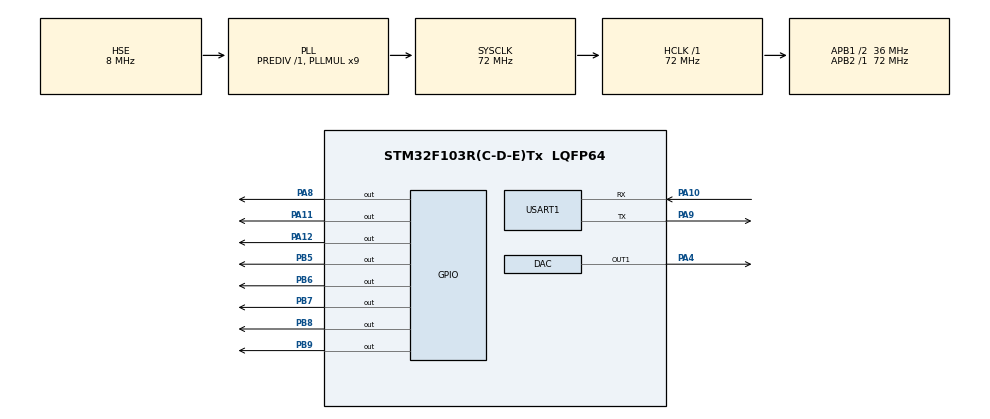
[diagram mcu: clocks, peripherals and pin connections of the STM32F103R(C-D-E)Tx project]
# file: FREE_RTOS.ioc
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ADC1.Channel-0\#ChannelRegularConversion=ADC_CHANNEL_TEMPSENSOR
ADC1.ContinuousConvMode=ENABLE
ADC1.EnableInjectedConversion=DISABLE
ADC1.NbrOfConversionFlag=1
ADC1.Rank-0\#ChannelRegularConversion=1
ADC1.SamplingTime-0\#ChannelRegularConversion=ADC_SAMPLETIME_239CYCLES_5
ADC1.master=1
DAC.DAC_Trigger=DAC_TRIGGER_T2_TRGO
Dma.DAC_CH1.0.Direction=DMA_MEMORY_TO_PERIPH
Dma.DAC_CH1.0.Instance=DMA2_Channel3
Dma.DAC_CH1.0.MemDataAlignment=DMA_MDATAALIGN_WORD
Dma.DAC_CH1.0.MemInc=DMA_MINC_ENABLE
Dma.DAC_CH1.0.Mode=DMA_CIRCULAR
Dma.DAC_CH1.0.PeriphDataAlignment=DMA_PDATAALIGN_WORD
Dma.DAC_CH1.0.PeriphInc=DMA_PINC_DISABLE
Dma.DAC_CH1.0.Priority=DMA_PRIORITY_LOW
Dma.Request0=DAC_CH1
FREERTOS.Tasks01=defaultTask,-1,128,StartDefaultTask,Default,NULL,Dynamic,NULL,NULL;myTask02,0,128,StartTask02,Default,NULL,Dynamic,NULL,NULL;myTask03,1,128,StartTask03,Default,NULL,Dynamic,NULL,NULL;myTask04,2,128,StartTask04,Default,NULL,Dynamic,NULL,NULL
Mcu.Family=STM32F1
Mcu.Name=STM32F103R(C-D-E)Tx
Mcu.Package=LQFP64
NVIC.DMA2_Channel3_IRQn=true\:0\:0\:false\:false\:true\:true\:false\:true
NVIC.PriorityGroup=NVIC_PRIORITYGROUP_4
NVIC.USART1_IRQn=true\:0\:0\:false\:false\:true\:true\:true\:true
PA10.Mode=Asynchronous
PA10.Signal=USART1_RX
PA11.Signal=GPIO_Output
PA12.Signal=GPIO_Output
PA13.Mode=JTAG_5_pins
PA13.Signal=SYS_JTMS-SWDIO
PA14.Mode=JTAG_5_pins
PA14.Signal=SYS_JTCK-SWCLK
PA15.Mode=JTAG_5_pins
PA15.Signal=SYS_JTDI
PA4.Signal=COMP_DAC1_group
PA8.Signal=GPIO_Output
PA9.Mode=Asynchronous
PA9.Signal=USART1_TX
PB3.Mode=JTAG_5_pins
PB3.Signal=SYS_JTDO-TRACESWO
PB4.Mode=JTAG_5_pins
PB4.Signal=SYS_NJTRST
PB5.Signal=GPIO_Output
PB6.Signal=GPIO_Output
PB7.Signal=GPIO_Output
PB8.Signal=GPIO_Output
PB9.Signal=GPIO_Output
PD0-OSC_IN.Mode=HSE-External-Oscillator
PD0-OSC_IN.Signal=RCC_OSC_IN
PD1-OSC_OUT.Mode=HSE-External-Oscillator
PD1-OSC_OUT.Signal=RCC_OSC_OUT
ProjectManager.HeapSize=0x200
ProjectManager.StackSize=0x400
ProjectManager.TargetToolchain=SW4STM32
RCC.ADCPresc=RCC_ADCPCLK2_DIV6
RCC.AHBFreq_Value=72000000
RCC.APB1CLKDivider=RCC_HCLK_DIV2
RCC.APB1Freq_Value=36000000
RCC.APB1TimFreq_Value=72000000
RCC.APB2Freq_Value=72000000
RCC.APB2TimFreq_Value=72000000
RCC.HCLKFreq_Value=72000000
RCC.PLLMUL=RCC_PLL_MUL9
RCC.PLLSourceVirtual=RCC_PLLSOURCE_HSE
RCC.SYSCLKFreq_VALUE=72000000
RCC.SYSCLKSource=RCC_SYSCLKSOURCE_PLLCLK
RCC.USBFreq_Value=72000000
SH.COMP_DAC1_group.0=DAC_OUT1,DAC_OUT1
TIM2.AutoReloadPreload=TIM_AUTORELOAD_PRELOAD_ENABLE
TIM2.Period=4
TIM2.Prescaler=71
TIM2.TIM_MasterOutputTrigger=TIM_TRGO_UPDATE
USART1.VirtualMode=VM_ASYNC
VP_ADC1_TempSens_Input.Mode=IN-TempSens
VP_FREERTOS_VS_CMSIS_V1.Mode=CMSIS_V1
VP_TIM2_VS_ClockSourceINT.Mode=Internal
board=custom

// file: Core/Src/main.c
/* USER CODE BEGIN Header */
/**
  ******************************************************************************
  * @file           : main.c
  * @brief          : Main program body
  ******************************************************************************
  * @attention
  *
  * <h2><center>&copy; Copyright (c) 2022 STMicroelectronics.
  * All rights reserved.</center></h2>
  *
  * This software component is licensed by ST under Ultimate Liberty license
  * SLA0044, the "License"; You may not use this file except in compliance with
  * the License. You may obtain a copy of the License at:
  *                             www.st.com/SLA0044
  *
  ******************************************************************************
  */
/* USER CODE END Header */
#include "main.h"
#include "cmsis_os.h"

/* USER CODE BEGIN Includes */
#include "math.h"
#define NS 100
#define PI 3.1415925
#include <stdio.h>
#include "string.h"
/* USER CODE END Includes */

ADC_HandleTypeDef hadc1;

DAC_HandleTypeDef hdac;
DMA_HandleTypeDef hdma_dac_ch1;

TIM_HandleTypeDef htim2;

UART_HandleTypeDef huart1;

osThreadId defaultTaskHandle;
osThreadId myTask02Handle;
osThreadId myTask03Handle;
osThreadId myTask04Handle;
/* USER CODE BEGIN PV */
uint8_t bin[8];
uint32_t adc_value1;
uint32_t adc_value2;
float v1;
float v2;
float temp;
uint8_t data_send[50];
char data_send1[50];
void lcd_busy(void);

/* USER CODE END PV */

void SystemClock_Config(void);
static void MX_GPIO_Init(void);
static void MX_DMA_Init(void);
static void MX_ADC1_Init(void);
static void MX_USART1_UART_Init(void);
static void MX_DAC_Init(void);
static void MX_TIM2_Init(void);
void StartDefaultTask(void const * argument);
void StartTask02(void const * argument);
void StartTask03(void const * argument);
void StartTask04(void const * argument);

/* USER CODE BEGIN 0 */
uint32_t value[NS];
void get_value(void)
{
	for(int x = 0; x < 100; x++){
			value[x]=(470*sin(x*2*PI/NS)+1861);
		}
}

void chuyen_he(int dec)
{
	for(int i = 0; i < 8; i++)
	{
		bin[i] = dec%2;
		dec/=2;
	}
}

void increase(void)
{
	for(int m = 0; m <= 255; m++)
	{
		chuyen_he(m);
		HAL_GPIO_WritePin(GPIOB, GPIO_PIN_5, bin[0]);
		HAL_GPIO_WritePin(GPIOB, GPIO_PIN_6, bin[1]);
		HAL_GPIO_WritePin(GPIOB, GPIO_PIN_7, bin[2]);
		HAL_GPIO_WritePin(GPIOB, GPIO_PIN_8, bin[3]);
		HAL_GPIO_WritePin(GPIOB, GPIO_PIN_9, bin[4]);
		HAL_GPIO_WritePin(GPIOA, GPIO_PIN_8, bin[5]);
		HAL_GPIO_WritePin(GPIOA, GPIO_PIN_11, bin[6]);
		HAL_GPIO_WritePin(GPIOA, GPIO_PIN_12, bin[7]);
		HAL_Delay(1000);
	}
}

/* USER CODE END 0 */

int main(void)
{

  /* MCU Configuration--------------------------------------------------------*/

  /* Reset of all peripherals, Initializes the Flash interface and the Systick. */
  HAL_Init();

  /* Configure the system clock */
  SystemClock_Config();

  /* Initialize all configured peripherals */
  MX_GPIO_Init();
  MX_DMA_Init();
  MX_ADC1_Init();
  MX_USART1_UART_Init();
  MX_DAC_Init();
  MX_TIM2_Init();

  /* Create the thread(s) */
  /* definition and creation of defaultTask */
  osThreadDef(defaultTask, StartDefaultTask, osPriorityBelowNormal, 0, 128);
  defaultTaskHandle = osThreadCreate(osThread(defaultTask), NULL);

  /* definition and creation of myTask02 */
  osThreadDef(myTask02, StartTask02, osPriorityNormal, 0, 128);
  myTask02Handle = osThreadCreate(osThread(myTask02), NULL);

  /* definition and creation of myTask03 */
  osThreadDef(myTask03, StartTask03, osPriorityAboveNormal, 0, 128);
  myTask03Handle = osThreadCreate(osThread(myTask03), NULL);

  /* definition and creation of myTask04 */
  osThreadDef(myTask04, StartTask04, osPriorityHigh, 0, 128);
  myTask04Handle = osThreadCreate(osThread(myTask04), NULL);

  /* Start scheduler */
  osKernelStart();

  /* We should never get here as control is now taken by the scheduler */
  /* Infinite loop */
  while (1)
  {

  }
}

void SystemClock_Config(void)
{
  RCC_OscInitTypeDef RCC_OscInitStruct = {0};
  RCC_ClkInitTypeDef RCC_ClkInitStruct = {0};
  RCC_PeriphCLKInitTypeDef PeriphClkInit = {0};

  /** Initializes the RCC Oscillators according to the specified parameters
  * in the RCC_OscInitTypeDef structure.
  */
  RCC_OscInitStruct.OscillatorType = RCC_OSCILLATORTYPE_HSE;
  RCC_OscInitStruct.HSEState = RCC_HSE_ON;
  RCC_OscInitStruct.HSEPredivValue = RCC_HSE_PREDIV_DIV1;
  RCC_OscInitStruct.HSIState = RCC_HSI_ON;
  RCC_OscInitStruct.PLL.PLLState = RCC_PLL_ON;
  RCC_OscInitStruct.PLL.PLLSource = RCC_PLLSOURCE_HSE;
  RCC_OscInitStruct.PLL.PLLMUL = RCC_PLL_MUL9;
  if (HAL_RCC_OscConfig(&RCC_OscInitStruct) != HAL_OK)
  {
    Error_Handler();
  }
  /** Initializes the CPU, AHB and APB buses clocks
  */
  RCC_ClkInitStruct.ClockType = RCC_CLOCKTYPE_HCLK|RCC_CLOCKTYPE_SYSCLK
                              |RCC_CLOCKTYPE_PCLK1|RCC_CLOCKTYPE_PCLK2;
  RCC_ClkInitStruct.SYSCLKSource = RCC_SYSCLKSOURCE_PLLCLK;
  RCC_ClkInitStruct.AHBCLKDivider = RCC_SYSCLK_DIV1;
  RCC_ClkInitStruct.APB1CLKDivider = RCC_HCLK_DIV2;
  RCC_ClkInitStruct.APB2CLKDivider = RCC_HCLK_DIV1;

  if (HAL_RCC_ClockConfig(&RCC_ClkInitStruct, FLASH_LATENCY_2) != HAL_OK)
  {
    Error_Handler();
  }
  PeriphClkInit.PeriphClockSelection = RCC_PERIPHCLK_ADC;
  PeriphClkInit.AdcClockSelection = RCC_ADCPCLK2_DIV6;
  if (HAL_RCCEx_PeriphCLKConfig(&PeriphClkInit) != HAL_OK)
  {
    Error_Handler();
  }
}

static void MX_ADC1_Init(void)
{

  ADC_ChannelConfTypeDef sConfig = {0};

  /** Common config
  */
  hadc1.Instance = ADC1;
  hadc1.Init.ScanConvMode = ADC_SCAN_DISABLE;
  hadc1.Init.ContinuousConvMode = ENABLE;
  hadc1.Init.DiscontinuousConvMode = DISABLE;
  hadc1.Init.ExternalTrigConv = ADC_SOFTWARE_START;
  hadc1.Init.DataAlign = ADC_DATAALIGN_RIGHT;
  hadc1.Init.NbrOfConversion = 1;
  if (HAL_ADC_Init(&hadc1) != HAL_OK)
  {
    Error_Handler();
  }
  /** Configure Regular Channel
  */
  sConfig.Channel = ADC_CHANNEL_TEMPSENSOR;
  sConfig.Rank = ADC_REGULAR_RANK_1;
  sConfig.SamplingTime = ADC_SAMPLETIME_239CYCLES_5;
  if (HAL_ADC_ConfigChannel(&hadc1, &sConfig) != HAL_OK)
  {
    Error_Handler();
  }

}

static void MX_DAC_Init(void)
{

  DAC_ChannelConfTypeDef sConfig = {0};

  /** DAC Initialization
  */
  hdac.Instance = DAC;
  if (HAL_DAC_Init(&hdac) != HAL_OK)
  {
    Error_Handler();
  }
  /** DAC channel OUT1 config
  */
  sConfig.DAC_Trigger = DAC_TRIGGER_T2_TRGO;
  sConfig.DAC_OutputBuffer = DAC_OUTPUTBUFFER_ENABLE;
  if (HAL_DAC_ConfigChannel(&hdac, &sConfig, DAC_CHANNEL_1) != HAL_OK)
  {
    Error_Handler();
  }

}

static void MX_TIM2_Init(void)
{

  TIM_ClockConfigTypeDef sClockSourceConfig = {0};
  TIM_MasterConfigTypeDef sMasterConfig = {0};

  htim2.Instance = TIM2;
  htim2.Init.Prescaler = 71;
  htim2.Init.CounterMode = TIM_COUNTERMODE_UP;
  htim2.Init.Period = 299;
  htim2.Init.ClockDivision = TIM_CLOCKDIVISION_DIV1;
  htim2.Init.AutoReloadPreload = TIM_AUTORELOAD_PRELOAD_ENABLE;
  if (HAL_TIM_Base_Init(&htim2) != HAL_OK)
  {
    Error_Handler();
  }
  sClockSourceConfig.ClockSource = TIM_CLOCKSOURCE_INTERNAL;
  if (HAL_TIM_ConfigClockSource(&htim2, &sClockSourceConfig) != HAL_OK)
  {
    Error_Handler();
  }
  sMasterConfig.MasterOutputTrigger = TIM_TRGO_UPDATE;
  sMasterConfig.MasterSlaveMode = TIM_MASTERSLAVEMODE_DISABLE;
  if (HAL_TIMEx_MasterConfigSynchronization(&htim2, &sMasterConfig) != HAL_OK)
  {
    Error_Handler();
  }

}

static void MX_USART1_UART_Init(void)
{

  huart1.Instance = USART1;
  huart1.Init.BaudRate = 115200;
  huart1.Init.WordLength = UART_WORDLENGTH_8B;
  huart1.Init.StopBits = UART_STOPBITS_1;
  huart1.Init.Parity = UART_PARITY_NONE;
  huart1.Init.Mode = UART_MODE_TX_RX;
  huart1.Init.HwFlowCtl = UART_HWCONTROL_NONE;
  huart1.Init.OverSampling = UART_OVERSAMPLING_16;
  if (HAL_UART_Init(&huart1) != HAL_OK)
  {
    Error_Handler();
  }

}

static void MX_DMA_Init(void)
{

  /* DMA controller clock enable */
  __HAL_RCC_DMA2_CLK_ENABLE();

  /* DMA interrupt init */
  /* DMA2_Channel3_IRQn interrupt configuration */
  HAL_NVIC_SetPriority(DMA2_Channel3_IRQn, 0, 0);
  HAL_NVIC_EnableIRQ(DMA2_Channel3_IRQn);

}

static void MX_GPIO_Init(void)
{
  GPIO_InitTypeDef GPIO_InitStruct = {0};

  /* GPIO Ports Clock Enable */
  __HAL_RCC_GPIOD_CLK_ENABLE();
  __HAL_RCC_GPIOA_CLK_ENABLE();
  __HAL_RCC_GPIOB_CLK_ENABLE();

  /*Configure GPIO pin Output Level */
  HAL_GPIO_WritePin(GPIOA, GPIO_PIN_8|GPIO_PIN_11|GPIO_PIN_12, GPIO_PIN_RESET);

  /*Configure GPIO pin Output Level */
  HAL_GPIO_WritePin(GPIOB, GPIO_PIN_5|GPIO_PIN_6|GPIO_PIN_7|GPIO_PIN_8
                          |GPIO_PIN_9, GPIO_PIN_RESET);

  /*Configure GPIO pins : PA8 PA11 PA12 */
  GPIO_InitStruct.Pin = GPIO_PIN_8|GPIO_PIN_11|GPIO_PIN_12;
  GPIO_InitStruct.Mode = GPIO_MODE_OUTPUT_PP;
  GPIO_InitStruct.Pull = GPIO_NOPULL;
  GPIO_InitStruct.Speed = GPIO_SPEED_FREQ_LOW;
  HAL_GPIO_Init(GPIOA, &GPIO_InitStruct);

  /*Configure GPIO pins : PB5 PB6 PB7 PB8
                           PB9 */
  GPIO_InitStruct.Pin = GPIO_PIN_5|GPIO_PIN_6|GPIO_PIN_7|GPIO_PIN_8
                          |GPIO_PIN_9;
  GPIO_InitStruct.Mode = GPIO_MODE_OUTPUT_PP;
  GPIO_InitStruct.Pull = GPIO_NOPULL;
  GPIO_InitStruct.Speed = GPIO_SPEED_FREQ_LOW;
  HAL_GPIO_Init(GPIOB, &GPIO_InitStruct);

}

void StartDefaultTask(void const * argument)
{
  /* USER CODE BEGIN 5 */
  /* Infinite loop */
  for(;;)
  {
	increase();
  }
  /* USER CODE END 5 */
}

void StartTask02(void const * argument)
{
  /* USER CODE BEGIN StartTask02 */
  /* Infinite loop */
  for(;;)
  {
		HAL_ADC_Start(&hadc1);
		HAL_ADC_PollForConversion(&hadc1, 100);
		adc_value1 = HAL_ADC_GetValue(&hadc1);
		v1 = adc_value1;
		temp = (((1.43 - v1)*3.3/4095)/(4.3/1000))+25;
		sprintf(&data_send[0], "temp = %d\r\n", temp);
		HAL_UART_Transmit(&huart1, &data_send[0], sizeof(data_send), 10);
	    osDelay(1000);
  }
  /* USER CODE END StartTask02 */
}

void StartTask03(void const * argument)
{
  /* USER CODE BEGIN StartTask03 */
  /* Infinite loop */
  for(;;)
  {
	  HAL_DAC_Start(&hdac, DAC1_CHANNEL_1);
	    get_value();
	    HAL_TIM_Base_Start(&htim2);
	    HAL_DAC_Start_DMA(&hdac, DAC_CHANNEL_1, value, 100, DAC_ALIGN_12B_R);
  }
  /* USER CODE END StartTask03 */
}

void StartTask04(void const * argument)
{
  for(;;)
  {
	  osDelay(1);
  }
}

void Error_Handler(void)
{
}

/************************ (C) COPYRIGHT STMicroelectronics *****END OF FILE****/
